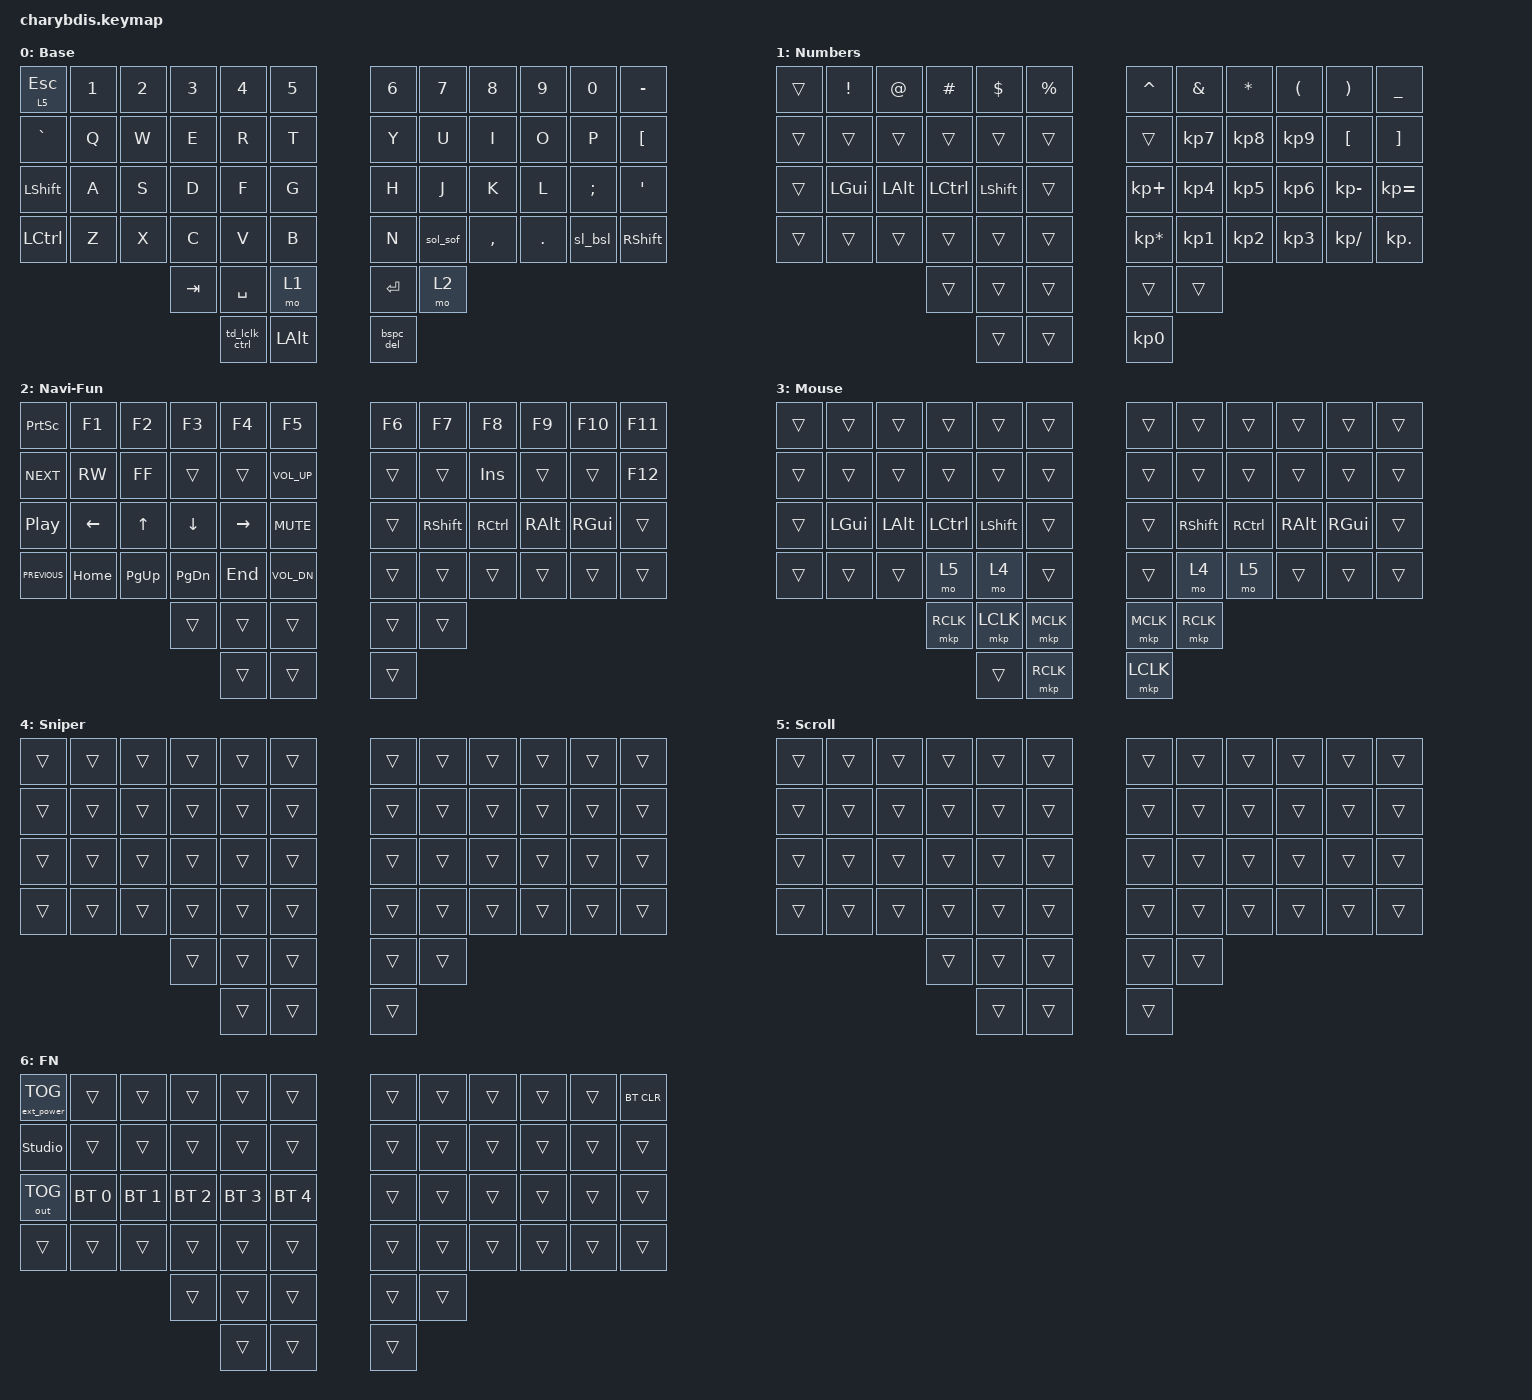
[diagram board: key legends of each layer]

#include <behaviors.dtsi>
#include <input/processors.dtsi>
#include <dt-bindings/zmk/keys.h>
#include <dt-bindings/zmk/bt.h>
#include <dt-bindings/zmk/mouse.h>
#include <dt-bindings/zmk/ext_power.h>
#include <dt-bindings/zmk/outputs.h>

/ {

    // #define QWERTY       0
    // #define NUMBERS      1
    // #define NAV-FUN      2
    // #define MOUSE        3
    // #define SNIPER       4
    // #define SCROLL       5
    // #define FN           6

    combos {
        compatible = "zmk,combos";

        caps_word {
            bindings = <&caps_word>;
            key-positions = <31 28>;
            layers = <0>;
        };

        CAPZ {
            bindings = <&kp CAPSLOCK>;
            key-positions = <24 25>;
            layers = <0>;
        };
        
        to-MOUSE {
            bindings = <&to 3>;
            key-positions = <37 46>;
            layers = <0 1 2>;
        };
        
        to-WIN {
            bindings = <&to 0>;
            key-positions = <50 51>;
            layers = <3 6>;
        };

        to-FN {
            bindings = <&to 6>;
            key-positions = <41 42>;
            layers = <0 3>;
        };
    };

    behaviors {    
        
        td_lclk_ctrl: tap_dance_lclk {
            compatible = "zmk,behavior-tap-dance";
            #binding-cells = <0>;
            tapping-term-ms = <200>;
            bindings = <&mkp LCLK>, <&kp LCTRL>;
        };

        bspc_del: backspace_delete {
            compatible = "zmk,behavior-mod-morph";
            #binding-cells = <0>;
            bindings = <&kp BSPC>, <&kp DEL>;
            mods = <(MOD_RSFT|MOD_LSFT)>;
        };

        sl_bsl: slash_backslash {
            compatible = "zmk,behavior-mod-morph";
            #binding-cells = <0>;
            bindings = <&kp SLASH>, <&kp BACKSLASH>;
            mods = <(MOD_RSFT|MOD_LALT)>;
            keep-mods = <(MOD_RSFT)>;
        };
        
        sol_sof: solid_soft {
            compatible = "zmk,behavior-mod-morph";
            #binding-cells = <0>;
            bindings = <&kp M>, <&kp RBKT>;
            mods = <(MOD_RSFT|MOD_LALT)>;
            keep-mods = <(MOD_RSFT)>;
        };

        hmr: hmr {
            compatible = "zmk,behavior-hold-tap";
            bindings = <&kp>, <&kp>;

            #binding-cells = <2>;
            tapping-term-ms = <190>;
            quick-tap-ms = <175>;
            flavor = "balanced";
            hold-trigger-key-positions = <0 1 2 3 4 5 12 13 14 15 16 17 24 25 26 27 28 29 36 37 38 39 40 41 48 49 50 53 54 51 52 55>;
            hold-trigger-on-release;
        };

        hml: hml {
            compatible = "zmk,behavior-hold-tap";
            bindings = <&kp>, <&kp>;

            #binding-cells = <2>;
            tapping-term-ms = <190>;
            quick-tap-ms = <175>;
            flavor = "balanced";
            hold-trigger-key-positions = <48 49 50 53 54 51 52 55 6 7 8 9 10 11 18 19 20 21 22 23 30 31 32 33 34 35 42 43 44 45 46 47 51 52>;
            hold-trigger-on-release;
        };
    };

    keymap {
        compatible = "zmk,keymap";

        default_win_layer {
            display-name = "Base";
            bindings = <
&lt 5 ESC   &kp N1      &kp N2      &kp N3      &kp N4        &kp N5                      &kp N6      &kp N7      &kp N8      &kp N9      &kp N0           &kp MINUS
&kp GRAVE   &kp Q       &kp W       &kp E       &kp R         &kp T                       &kp Y       &kp U       &kp I       &kp O       &kp P            &kp LBKT
&kp LSHIFT  &kp A       &kp S       &kp D       &kp F         &kp G                       &kp H       &kp J       &kp K       &kp L       &kp SEMICOLON    &kp APOSTROPHE
&kp LCTRL   &kp Z       &kp X       &kp C       &kp V         &kp B                       &kp N       &sol_sof    &kp COMMA   &kp DOT     &sl_bsl          &kp RSHIFT
                                    &kp TAB     &kp SPACE     &mo 1                       &kp ENTER   &mo 2       
                                                &td_lclk_ctrl &kp LALT                    &bspc_del
            >;
        };

        win_raise_layer {
            display-name = "Numbers";
            bindings = <
&trans      &kp EXCL    &kp AT      &kp HASH    &kp DOLLAR      &kp PERCENT                 &kp CARET          &kp AMPS    &kp STAR    &kp LPAR    &kp RPAR        &kp UNDER
&trans      &trans      &trans      &trans      &trans          &trans                      &trans             &kp KP_N7   &kp KP_N8   &kp KP_N9   &kp LBKT        &kp RBKT
&trans      &kp LGUI    &kp LALT    &kp LCTRL   &kp LSHIFT      &trans                      &kp KP_PLUS        &kp KP_N4   &kp KP_N5   &kp KP_N6   &kp KP_MINUS    &kp KP_EQUAL
&trans      &trans      &trans      &trans      &trans          &trans                      &kp KP_MULTIPLY    &kp KP_N1   &kp KP_N2   &kp KP_N3   &kp KP_DIVIDE   &kp KP_DOT
                                    &trans      &trans          &trans                      &trans             &trans
                                                &trans          &trans                      &kp KP_N0
        >;
        };

        win_lower_layer {
            display-name = "Navi-Fun";
            bindings = <
&kp PRINTSCREEN     &kp F1      &kp F2      &kp F3          &kp F4       &kp F5             &kp F6    &kp F7        &kp F8      &kp F9      &kp F10     &kp F11
&kp C_NEXT          &kp C_RW    &kp C_FF    &trans          &trans       &kp C_VOL_UP       &trans    &trans        &kp INS     &trans      &trans      &kp F12
&kp C_PLAY_PAUSE    &kp LEFT    &kp UP      &kp DOWN        &kp RIGHT    &kp C_MUTE         &trans    &kp RSHIFT    &kp RCTRL   &kp RALT    &kp RGUI    &trans
&kp C_PREVIOUS      &kp HOME    &kp PAGE_UP &kp PAGE_DOWN   &kp END      &kp C_VOL_DN       &trans    &trans        &trans      &trans      &trans      &trans
                                            &trans          &trans       &trans             &trans    &trans
                                                            &trans       &trans             &trans
            >;
        };

        mouse_layer {
            display-name = "Mouse";
            bindings = <
&trans      &trans      &trans      &trans      &trans      &trans                  &trans      &trans      &trans      &trans      &trans      &trans
&trans      &trans      &trans      &trans      &trans      &trans                  &trans      &trans      &trans      &trans      &trans      &trans
&trans      &kp LGUI    &kp LALT    &kp LCTRL   &kp LSHIFT  &trans                  &trans      &kp RSHIFT  &kp RCTRL   &kp RALT    &kp RGUI    &trans
&trans      &trans      &trans      &mo 5       &mo 4       &trans                  &trans      &mo 4       &mo 5       &trans      &trans      &trans
                                    &mkp RCLK   &mkp LCLK   &mkp MCLK               &mkp MCLK   &mkp RCLK
                                                &trans      &mkp RCLK               &mkp LCLK
            >;
        };

        sniper_layer {
            display-name = "Sniper";
            bindings = <
&trans  &trans  &trans  &trans  &trans  &trans    &trans  &trans  &trans  &trans  &trans  &trans
&trans  &trans  &trans  &trans  &trans  &trans    &trans  &trans  &trans  &trans  &trans  &trans
&trans  &trans  &trans  &trans  &trans  &trans    &trans  &trans  &trans  &trans  &trans  &trans
&trans  &trans  &trans  &trans  &trans  &trans    &trans  &trans  &trans  &trans  &trans  &trans
                        &trans  &trans  &trans    &trans  &trans
                                &trans  &trans    &trans
            >;
        };

        scroll_layer {
            display-name = "Scroll";
            bindings = <
&trans  &trans  &trans  &trans  &trans  &trans    &trans  &trans  &trans  &trans  &trans  &trans
&trans  &trans  &trans  &trans  &trans  &trans    &trans  &trans  &trans  &trans  &trans  &trans
&trans  &trans  &trans  &trans  &trans  &trans    &trans  &trans  &trans  &trans  &trans  &trans
&trans  &trans  &trans  &trans  &trans  &trans    &trans  &trans  &trans  &trans  &trans  &trans
                        &trans  &trans  &trans    &trans  &trans
                                &trans  &trans    &trans
            >;
        };

        keeb_pref_layer {
            display-name = "FN";
            bindings = <
&ext_power EP_TOG  &trans        &trans        &trans        &trans        &trans          &trans  &trans  &trans  &trans  &trans  &bt BT_CLR
&studio_unlock     &trans        &trans        &trans        &trans        &trans          &trans  &trans  &trans  &trans  &trans  &trans
&out OUT_TOG       &bt BT_SEL 0  &bt BT_SEL 1  &bt BT_SEL 2  &bt BT_SEL 3  &bt BT_SEL 4    &trans  &trans  &trans  &trans  &trans  &trans
&trans             &trans        &trans        &trans        &trans        &trans          &trans  &trans  &trans  &trans  &trans  &trans
                                               &trans        &trans        &trans          &trans  &trans
                                                             &trans        &trans          &trans
            >;
        };
    };
};
